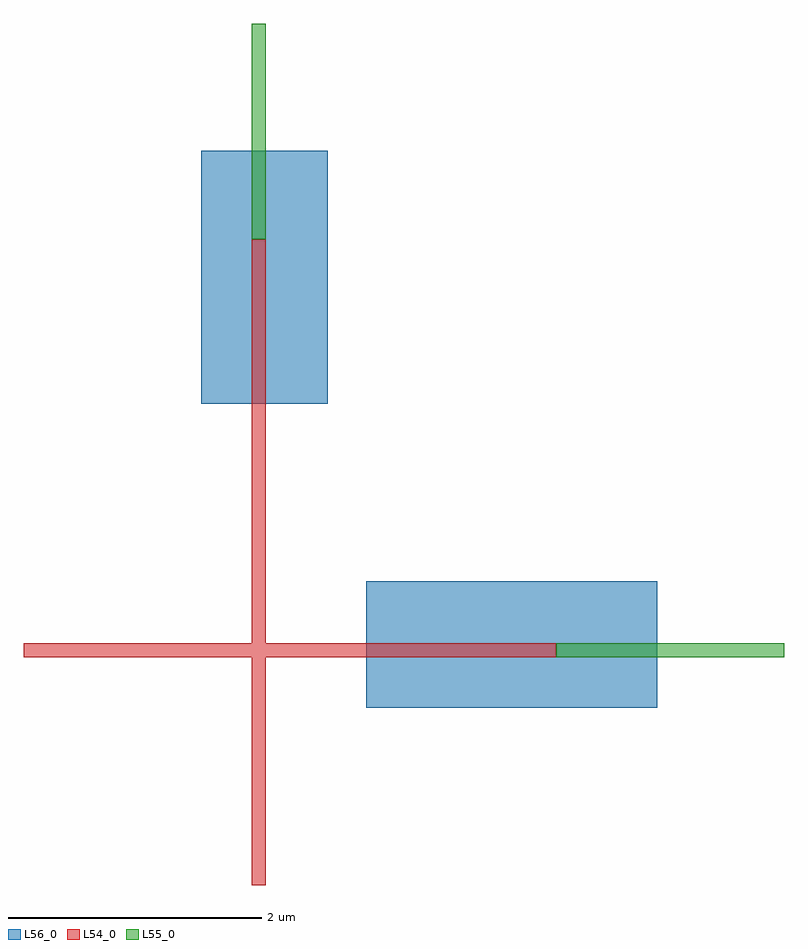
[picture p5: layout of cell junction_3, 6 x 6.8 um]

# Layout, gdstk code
import gdstk
lib = gdstk.Library(unit=1e-6, precision=1e-09)
def R(c, l, rs):  # rectangles x0, y0, x1, y1
    for r in rs: c.add(gdstk.rectangle(r[:2], r[2:], *l))
L54_0 = (54, 0)
L55_0 = (55, 0)
L56_0 = (56, 0)

junction_3 = lib.new_cell('junction_3')
R(junction_3, L54_0, [(-1.2,-2.8,-1.09,2.3), (-3,-1,1.2,-0.89)])
R(junction_3, L55_0, [(1.2,-1,3,-0.89), (-1.2,2.3,-1.09,4)])
R(junction_3, L56_0, [(-0.3,-1.4,2,-0.4), (-1.6,1,-0.6,3)])

lib.write_gds('junction_3.gds')
